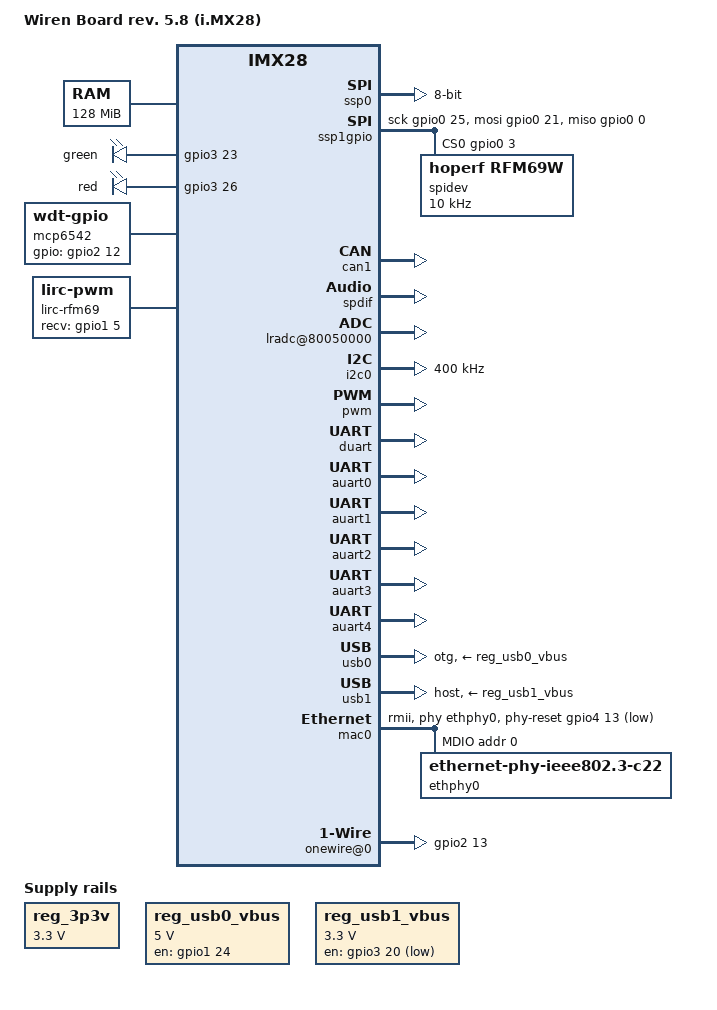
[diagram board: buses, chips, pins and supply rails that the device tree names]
/*
 * Copyright 2012 Freescale Semiconductor, Inc.
 *
 * The code contained herein is licensed under the GNU General Public
 * License. You may obtain a copy of the GNU General Public License
 * Version 2 or later at the following locations:
 *
 * http://www.opensource.org/licenses/gpl-license.html
 * http://www.gnu.org/copyleft/gpl.html
 */

/dts-v1/;
#include "imx28.dtsi"
#include <dt-bindings/interrupt-controller/irq.h>

/ {
    model = "Wiren Board rev. 5.8 (i.MX28)";
    compatible = "contactless,imx28-wirenboard58","contactless,imx28-wirenboard55", "contactless,imx28-wirenboard52", "contactless,imx28-wirenboard50", "fsl,imx28";

    memory {
        reg = <0x40000000 0x08000000>;
    };

    apb@80000000 {
        apbh@80000000 {
            ocotp: ocotp@8002c000 {
                status = "okay";
            };

            ssp0: ssp@80010000 {
                compatible = "fsl,imx28-mmc";
                pinctrl-names = "default";
                pinctrl-0 = <&mmc0_8bit_pins_a
                    &mmc0_cd_cfg &mmc0_sck_cfg>;
                bus-width = <8>;
                status = "okay";
            };

            ssp1: ssp@80012000 {
                compatible = "fsl,imx28-spi";
                pinctrl-0 = <&ssp1_pins_a>;
                pinctrl-names = "default";

                status = "disabled";

                spidev@0 {
                    compatible = "hoperf,rfm69w";
                    spi-max-frequency = <100000>;
                    reg = <0>;
                };
            };

            ssp1gpio {
                compatible = "spi-gpio";
                pinctrl-names = "default";
                pinctrl-0 = <&spi1_pins_a_gpio>;
                status = "okay";
                gpio-sck = <&gpio0 25 0>;
                gpio-mosi = <&gpio0 21 0>;
                gpio-miso = <&gpio0 0 0>;
                cs-gpios = <&gpio0 3 0>;
                num-chipselects = <1>;
                #address-cells = <1>;
                #size-cells = <0>;

                spidev@0 {
                    compatible = "hoperf,rfm69w";
                    spi-max-frequency = <10000>;
                    reg = <0>;
                };
            };

            ssp2: ssp@80014000 {
                compatible = "fsl,imx28-spi";
                pinctrl-names = "default";
                pinctrl-0 = <&spi2_pins_a_nocs
                            &pins_mod3
                             >;
                status = "disabled";

            };

            ssp3: ssp@80016000 {
                compatible = "fsl,imx28-spi";
                pinctrl-names = "default";
                pinctrl-0 = <&spi3_pins_b>;
                status = "disabled";
            };

            pinctrl@80018000 {
                pinctrl-names = "default";
                pinctrl-0 = <&io_pin_gpio
                             &mod2_pins
                             &mod1_pins
                >;

                mod2_pins: mod2_pins@0 {
                    reg = <0>;
                    fsl,pinmux-ids = <
                    >;
                    fsl,drive-strength = <MXS_DRIVE_8mA>;
                    fsl,voltage = <MXS_VOLTAGE_HIGH>;
                    fsl,pull-up = <MXS_PULL_DISABLE>;
                };

                mod1_pins: mod1_pins@0 {
                    reg = <0>;
                    fsl,pinmux-ids = <
                    >;
                    fsl,drive-strength = <MXS_DRIVE_8mA>;
                    fsl,voltage = <MXS_VOLTAGE_HIGH>;
                    fsl,pull-up = <MXS_PULL_DISABLE>;
                };

                mod1_i2c_pins_gpio: mod1-i2c-pins-gpio@ {
                    reg = <0>;
                    fsl,pinmux-ids = <
                        MX28_PAD_SSP3_SS0__GPIO_2_27
                        MX28_PAD_PWM4__GPIO_3_29
                    >;
                    fsl,drive-strength = <MXS_DRIVE_8mA>;
                    fsl,voltage = <MXS_VOLTAGE_HIGH>;
                    fsl,pull-up = <MXS_PULL_DISABLE>;
                };

                mod1_cs_pins_gpio: mod1-cs-pins-gpio@ {
                    reg = <0>;
                    fsl,pinmux-ids = <
                        MX28_PAD_SSP2_SS0__GPIO_2_19
                    >;
                    fsl,drive-strength = <MXS_DRIVE_8mA>;
                    fsl,voltage = <MXS_VOLTAGE_HIGH>;
                    fsl,pull-up = <MXS_PULL_DISABLE>;
                };

                mod1_cs_pins_spi: mod1-cs-pins-spi@ {
                    reg = <0>;
                    fsl,pinmux-ids = <
                        MX28_PAD_SSP2_SS0__SSP2_D3
                    >;
                    fsl,drive-strength = <MXS_DRIVE_8mA>;
                    fsl,voltage = <MXS_VOLTAGE_HIGH>;
                    fsl,pull-up = <MXS_PULL_ENABLE>;
                };

                mod1_uart_pins_gpio: mod1-uart-pins-gpio@ {
                    reg = <0>;
                    fsl,pinmux-ids = <
                        MX28_PAD_AUART2_RX__GPIO_3_8
                        MX28_PAD_AUART2_TX__GPIO_3_9
                        MX28_PAD_AUART2_RTS__GPIO_3_11
                    >;
                    fsl,drive-strength = <MXS_DRIVE_8mA>;
                    fsl,voltage = <MXS_VOLTAGE_HIGH>;
                    fsl,pull-up = <MXS_PULL_DISABLE>;
                };

                mod2_i2c_pins_gpio: mod2-i2c-pins-gpio@ {
                    reg = <0>;
                    fsl,pinmux-ids = <
                        MX28_PAD_GPMI_RDY2__GPIO_0_22
                        MX28_PAD_GPMI_RDY3__GPIO_0_23
                    >;
                    fsl,drive-strength = <MXS_DRIVE_8mA>;
                    fsl,voltage = <MXS_VOLTAGE_HIGH>;
                    fsl,pull-up = <MXS_PULL_DISABLE>;
                };

                mod2_cs_pins_gpio: mod2-cs-pins-gpio@ {
                    reg = <0>;
                    fsl,pinmux-ids = <
                        MX28_PAD_SSP2_SS1__GPIO_2_20
                    >;
                    fsl,drive-strength = <MXS_DRIVE_8mA>;
                    fsl,voltage = <MXS_VOLTAGE_HIGH>;
                    fsl,pull-up = <MXS_PULL_DISABLE>;
                };

                mod2_cs_pins_spi: mod2-cs-pins-spi@ {
                    reg = <0>;
                    fsl,pinmux-ids = <
                        MX28_PAD_SSP2_SS1__SSP2_D4
                    >;
                    fsl,drive-strength = <MXS_DRIVE_8mA>;
                    fsl,voltage = <MXS_VOLTAGE_HIGH>;
                    fsl,pull-up = <MXS_PULL_ENABLE>;
                };

                mod2_uart_pins_gpio: mod2-uart-pins-gpio@ {
                    reg = <0>;
                    fsl,pinmux-ids = <
                        MX28_PAD_AUART3_TX__GPIO_3_13
                        MX28_PAD_AUART3_RX__GPIO_3_12
                        MX28_PAD_AUART3_RTS__GPIO_3_15
                    >;
                    fsl,drive-strength = <MXS_DRIVE_8mA>;
                    fsl,voltage = <MXS_VOLTAGE_HIGH>;
                    fsl,pull-up = <MXS_PULL_DISABLE>;
                };

                leds_pin_gpio: leds_pin_gpio@0 {
                    reg = <0>;
                    fsl,pinmux-ids = <
                        MX28_PAD_SAIF0_SDATA0__GPIO_3_23    /* LED_2 */
                        MX28_PAD_SAIF1_SDATA0__GPIO_3_26    /* LED_1 */
                    >;
                    fsl,drive-strength = <0>;
                    fsl,voltage = <1>;
                    fsl,pull-up = <0>;
                };

                io_pin_gpio: io_pin_gpio@0 {
                    reg = <0>;
                    fsl,pinmux-ids = <
                        MX28_PAD_GPMI_D06__GPIO_0_6     /* A1 in */
                        MX28_PAD_GPMI_D07__GPIO_0_7     /* A2 in */
                        MX28_PAD_GPMI_RESETN__GPIO_0_28 /* A3 in */
                        MX28_PAD_GPMI_CLE__GPIO_0_27    /* A4 in */
                        MX28_PAD_GPMI_D05__GPIO_0_5     /* R1 gpio */

                        MX28_PAD_GPMI_ALE__GPIO_0_26    /* A1 out */
                        MX28_PAD_GPMI_CE0N__GPIO_0_16   /* A2 out */
                        MX28_PAD_GPMI_RDN__GPIO_0_24    /* A3 out */
                        MX28_PAD_GPMI_RDY0__GPIO_0_20   /* A4 out */

                        MX28_PAD_GPMI_CE1N__GPIO_0_17   /* RESET_SIM900 */
                        MX28_PAD_GPMI_D02__GPIO_0_2     /* POWER_SIM900 */
                        MX28_PAD_LCD_D07__GPIO_1_7      /* STATUS_SIM900 */

                        MX28_PAD_LCD_D06__GPIO_1_6      /* IRQ_RFM69 */
                        MX28_PAD_LCD_D05__GPIO_1_5      /* RFM69_DIO2 */
                        MX28_PAD_GPMI_D03__GPIO_0_3     /* RFM69_CS */
                        MX28_PAD_LCD_RESET__GPIO_3_30   /* STAT1 */
                        MX28_PAD_LCD_WR_RWN__GPIO_1_25  /* STAT2 */

                        MX28_PAD_SSP1_SCK__GPIO_2_12    /* watchdog out */

                        MX28_PAD_PWM2__USB0_ID          /* USB ID */

                        /* MX28_PAD_AUART1_RTS__GPIO_3_7 */ /* RTS AUART1 */

                        MX28_PAD_SSP1_DATA0__GPIO_2_14  /* 5V_OUT power enable */

                        MX28_PAD_ENET0_RX_CLK__GPIO_4_13    /* FEC reset */

                        MX28_PAD_SSP3_MISO__GPIO_2_26 /* MOD3 power enable */
                    >;
                    fsl,drive-strength = <MXS_DRIVE_4mA>;
                    fsl,voltage = <MXS_VOLTAGE_HIGH>;
                    fsl,pull-up = <MXS_PULL_DISABLE>;
                };

                w1_pins_gpio: w1_pins_gpio@0 {
                    reg = <0>;
                    fsl,pinmux-ids = <
                        MX28_PAD_SSP1_DATA3__GPIO_2_15      /* 1-wire active pull-up*/
                        MX28_PAD_SSP1_CMD__GPIO_2_13      /* 1-wire data*/

                    >;
                    fsl,drive-strength = <MXS_DRIVE_4mA>;
                    fsl,voltage = <MXS_VOLTAGE_HIGH>;
                    fsl,pull-up = <MXS_PULL_DISABLE>;
                };

                usb0_pins_gpio: usb0_pins_gpio@0 {
                    reg = <0>;
                    fsl,pinmux-ids = <
                        MX28_PAD_LCD_RD_E__GPIO_1_24    /* USB power enable */
                    >;
                    fsl,drive-strength = <MXS_DRIVE_4mA>;
                    fsl,voltage = <MXS_VOLTAGE_HIGH>;
                    fsl,pull-up = <MXS_PULL_DISABLE>;

                };

                usb1_pins_gpio: usb1_pins_gpio@0 {
                    reg = <0>;
                    fsl,pinmux-ids = <
                        MX28_PAD_SAIF0_MCLK__GPIO_3_20      /* Wi-Fi power enable */
                    >;
                    fsl,drive-strength = <MXS_DRIVE_4mA>;
                    fsl,voltage = <MXS_VOLTAGE_HIGH>;
                    fsl,pull-up = <MXS_PULL_DISABLE>;

                };

                ssp1_pins_a: ssp1@0 {
                    reg = <0>;
                    fsl,pinmux-ids = <
                        MX28_PAD_GPMI_RDY1__SSP1_CMD
                        MX28_PAD_GPMI_D00__SSP1_D0
                        MX28_PAD_GPMI_WRN__SSP1_SCK
                        MX28_PAD_GPMI_D03__SSP1_D3
                    >;
                    fsl,drive-strength = <MXS_DRIVE_8mA>;
                    fsl,voltage = <MXS_VOLTAGE_HIGH>;
                    fsl,pull-up = <MXS_PULL_ENABLE>;
                };

                spi1_pins_a_gpio: spi1@0 {
                    reg = <0>;
                    fsl,pinmux-ids = <
                        MX28_PAD_GPMI_RDY1__GPIO_0_21
                        MX28_PAD_GPMI_D00__GPIO_0_0
                        MX28_PAD_GPMI_WRN__GPIO_0_25
                        MX28_PAD_GPMI_D03__GPIO_0_3
                    >;
                    fsl,drive-strength = <MXS_DRIVE_8mA>;
                    fsl,voltage = <MXS_VOLTAGE_HIGH>;
                    fsl,pull-up = <MXS_PULL_ENABLE>;
                };

                spi2_pins_a_gpio: spi2@0 {
                    reg = <0>;
                    fsl,pinmux-ids = <
                        MX28_PAD_SSP2_SCK__GPIO_2_16
                        MX28_PAD_SSP2_MOSI__GPIO_2_17
                        MX28_PAD_SSP2_MISO__GPIO_2_18
                        MX28_PAD_SSP2_SS0__GPIO_2_19
                    >;
                    fsl,drive-strength = <MXS_DRIVE_8mA>;
                    fsl,voltage = <MXS_VOLTAGE_HIGH>;
                    fsl,pull-up = <MXS_PULL_ENABLE>;
                };

                spi2_pins_a_nocs: spi2@0 {
                    reg = <0>;
                    fsl,pinmux-ids = <
                        MX28_PAD_SSP2_SCK__SSP2_SCK
                        MX28_PAD_SSP2_MOSI__SSP2_CMD
                        MX28_PAD_SSP2_MISO__SSP2_D0
                    >;
                    fsl,drive-strength = <MXS_DRIVE_8mA>;
                    fsl,voltage = <MXS_VOLTAGE_HIGH>;
                    fsl,pull-up = <MXS_PULL_ENABLE>;
                };

                pins_mod3: pins_mod3@0 {
                    reg = <0>;
                    fsl,pinmux-ids = <
                        MX28_PAD_SSP2_SS2__SSP2_D5
                    >;
                    fsl,drive-strength = <MXS_DRIVE_8mA>;
                    fsl,voltage = <MXS_VOLTAGE_HIGH>;
                    fsl,pull-up = <MXS_PULL_ENABLE>;
                };

                gsm_uart_pins_gpio: gsm_uart_pins_gpio@0 {
                    reg = <0>;
                    fsl,pinmux-ids = <
                        MX28_PAD_AUART0_RX__GPIO_3_0
                        MX28_PAD_AUART0_TX__GPIO_3_1
                        MX28_PAD_AUART0_CTS__GPIO_3_2
                        MX28_PAD_AUART0_RTS__GPIO_3_3
                    >;
                    fsl,drive-strength = <MXS_DRIVE_4mA>;
                    fsl,voltage = <MXS_VOLTAGE_HIGH>;
                    fsl,pull-up = <MXS_PULL_DISABLE>;
                };

                auart1_3pins_a: auart1-3pins-rs485@0 {
                    reg = <0>;
                    fsl,pinmux-ids = <
                        MX28_PAD_AUART1_RX__AUART1_RX
                        MX28_PAD_AUART1_TX__AUART1_TX
                        MX28_PAD_AUART1_RTS__AUART1_RTS
                    >;
                    fsl,drive-strength = <MXS_DRIVE_4mA>;
                    fsl,voltage = <MXS_VOLTAGE_HIGH>;
                    fsl,pull-up = <MXS_PULL_DISABLE>;
                };

                auart2_3pins_a: auart2-3pins-rs485@0 {
                    reg = <0>;
                    fsl,pinmux-ids = <
                        MX28_PAD_AUART2_RX__AUART2_RX
                        MX28_PAD_AUART2_TX__AUART2_TX
                        MX28_PAD_AUART2_RTS__AUART2_RTS
                    >;
                    fsl,drive-strength = <MXS_DRIVE_4mA>;
                    fsl,voltage = <MXS_VOLTAGE_HIGH>;
                    fsl,pull-up = <MXS_PULL_DISABLE>;
                };

                auart3_3pins_a: auart3-3pins-rs485@0 {
                    reg = <0>;
                    fsl,pinmux-ids = <
                        MX28_PAD_AUART3_RX__AUART3_RX
                        MX28_PAD_AUART3_TX__AUART3_TX
                        MX28_PAD_AUART3_RTS__AUART3_RTS
                    >;
                    fsl,drive-strength = <MXS_DRIVE_4mA>;
                    fsl,voltage = <MXS_VOLTAGE_HIGH>;
                    fsl,pull-up = <MXS_PULL_DISABLE>;
                };

                auart4_3pins_b: auart4-3pins-rs485@0 {
                    reg = <0>;
                    fsl,pinmux-ids = <
                        MX28_PAD_SSP3_MOSI__AUART4_RX
                        MX28_PAD_SSP3_SCK__AUART4_TX
                        MX28_PAD_SAIF0_LRCLK__AUART4_RTS
                    >;
                    fsl,drive-strength = <MXS_DRIVE_4mA>;
                    fsl,voltage = <MXS_VOLTAGE_HIGH>;
                    fsl,pull-up = <MXS_PULL_DISABLE>;
                };
                pwm5_pins_a: pwm5@0 {
                    reg = <0>;
                    fsl,pinmux-ids = <
                        MX28_PAD_SAIF0_BITCLK__PWM_5
                    >;
                    fsl,drive-strength = <MXS_DRIVE_4mA>;
                    fsl,voltage = <MXS_VOLTAGE_HIGH>;
                    fsl,pull-up = <MXS_PULL_DISABLE>;
                };

                mod2_pwm_pins_gpio: mod2_pwm_pins_gpio@0 {
                    reg = <0>;
                    fsl,pinmux-ids = <
                        MX28_PAD_SAIF0_BITCLK__GPIO_3_22    /* PWM connected in parallel 
                        to MOD2 SCL*/
                    >;
                    fsl,drive-strength = <MXS_DRIVE_4mA>;
                    fsl,voltage = <MXS_VOLTAGE_HIGH>;
                    fsl,pull-up = <MXS_PULL_DISABLE>;
                };

            };

            can1: can@80034000 {
                pinctrl-names = "default";
                pinctrl-0 = <&can1_pins_a>;
                status = "okay";
            };
        };

        apbx@80040000 {
            spdif: spdif@80054000 {
                pinctrl-names = "default";
                pinctrl-0 = <&spdif_pins>;
                status = "okay";
            };

            lradc@80050000 {
                status = "okay";
            };

            mxs_rtc: rtc@80056000 {
                status = "okay";
            };

            i2c0: i2c@80058000 {
                pinctrl-names = "default";
                pinctrl-0 = <&i2c0_pins_a>;
                status = "okay";
                clock-frequency = <400000>;
            };

            pwm: pwm@80064000 {
                pinctrl-names = "default";
                pinctrl-0 = <&pwm3_pins_a>;
                status = "okay";
            };

            duart: serial@80074000 {
                pinctrl-names = "default";
                pinctrl-0 = <&duart_pins_a>;
                status = "okay";
            };

            auart0: serial@8006a000 {
                pinctrl-names = "default";
                pinctrl-0 = <&auart0_pins_a>;
                status = "okay";
            };

            auart1: serial@8006c000 {
                pinctrl-names = "default";
                pinctrl-0 = <&auart1_3pins_a>;
                status = "okay";
                linux,rs485-enabled-at-boot-time;
            };

            auart2: serial@8006e000 {
                pinctrl-names = "default";
                pinctrl-0 = <&auart2_3pins_a>;
                status = "okay";
                linux,rs485-enabled-at-boot-time;
            };

            auart3: serial@80070000 {
                pinctrl-names = "default";
                pinctrl-0 = <&auart3_3pins_a>;
                status = "okay";
                linux,rs485-enabled-at-boot-time;
            };

            auart4: serial@80072000 {
                pinctrl-names = "default";
                pinctrl-0 = <&auart4_3pins_b>;
                status = "okay";
                linux,rs485-enabled-at-boot-time;
            };

            usbphy0: usbphy@8007c000 {
                status = "okay";
            };

            usbphy1: usbphy@8007e000 {
                status = "okay";
            };
        };
    };

    ahb@80080000 {
        usb0: usb@80080000 {
            vbus-supply = <&reg_usb0_vbus>;
            status = "okay";
            dr_mode = "otg";
        };

        usb1: usb@80090000 {
            vbus-supply = <&reg_usb1_vbus>;
            status = "okay";
            dr_mode = "host";
        };

        mac0: ethernet@800f0000 {
            phy-mode = "rmii";
            pinctrl-names = "default";
            pinctrl-0 = <&mac0_pins_a>;
            phy-handle = <&ethphy0>;
            phy-reset-gpios = <&gpio4 13 0>;
            phy-reset-duration = <100>;
            status = "okay";

            mdio {
                #address-cells = <1>;
                #size-cells = <0>;

                ethphy0: ethernet-phy@0 {
                    compatible = "ethernet-phy-ieee802.3-c22";
                    max-speed = <100>;
                    reg = <0>;
                    smsc,disable-energy-detect;
                };
            };
        };

        mac1: ethernet@800f4000 {
            phy-mode = "rmii";
            pinctrl-names = "default";
            pinctrl-0 = <&mac1_pins_a>;
            status = "disabled";
        };
    };

    regulators {
        compatible = "simple-bus";

        reg_3p3v: 3p3v {
            compatible = "regulator-fixed";
            regulator-name = "3P3V";
            regulator-min-microvolt = <3300000>;
            regulator-max-microvolt = <3300000>;
            regulator-always-on;
        };

        reg_usb0_vbus: usb0_vbus {
            compatible = "regulator-fixed";
            regulator-name = "usb0_vbus";
            regulator-min-microvolt = <5000000>;
            regulator-max-microvolt = <5000000>;

            pinctrl-names = "default";
            pinctrl-0 = <&usb0_pins_gpio>;

            gpio = <&gpio1 24 0>;
            enable-active-high;
        };

        reg_usb1_vbus: usb1_vbus {
            compatible = "regulator-fixed";
            regulator-name = "usb1_vbus";
            regulator-min-microvolt = <3300000>;
            regulator-max-microvolt = <3300000>;

            pinctrl-names = "default";
            pinctrl-0 = <&usb1_pins_gpio>;

            gpio = <&gpio3 20 0>;
            /* active low */
        };
    };

    leds {
        compatible = "gpio-leds";
        pinctrl-names = "default";
        pinctrl-0 = <&leds_pin_gpio>;

        green {
            label = "green";
            gpios = <&gpio3 23 0>;
            linux,default-trigger = "default-off";
            default-state = "on";
            open-drain;
        };

        red {
            label = "red";
            gpios = <&gpio3 26 0>;
            linux,default-trigger = "timer";
        };
    };

    /* Enable 1-wire network on terminal block W1 */
    onewire@0 {
        compatible = "w1-gpio";
        pinctrl-names = "default";
        pinctrl-0 = <&w1_pins_gpio>;

        gpios = <&gpio2 13 0>;
        pu-gpios = <&gpio2 15 0>;
    };

    mcp6542: watchdog {
        /* watchdog timer on mcp6542  */
        compatible = "linux,wdt-gpio";
        gpios = <&gpio2 12 0>;
        hw_algo = "toggle";
        hw_margin_ms = <100>;
        always-running;
        timeout-sec = <30>;
        status = "okay";
    };

    sound-spdif {
        compatible = "fsl,mxs-spdif-audio";
        model = "On-board SPDIF";
        spdif-controller = <&spdif>;
    };

    lirc-rfm69 {
        compatible = "lirc-pwm";
        gpio-recv = <&gpio1 5 0>;
        gpio-recv-disable-filter;
    };
};
